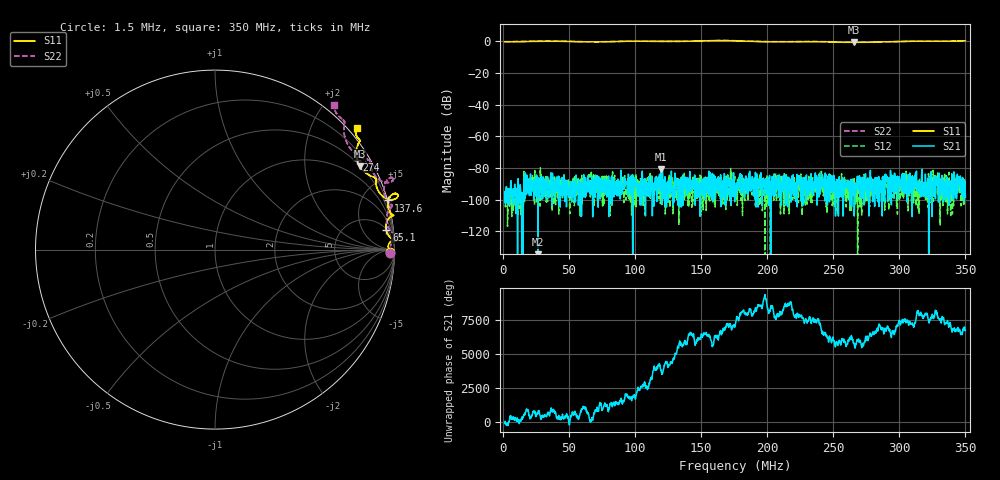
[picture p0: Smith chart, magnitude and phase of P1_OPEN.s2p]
# Hz S RI R 50
! RAW DATA - UNCALIBRATED
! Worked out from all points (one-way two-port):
!   1601 points, 1.5 MHz to 350 MHz, reference 50 ohm
!   highest |S21| = -80.57 dB at 119.8 MHz (marker M1); lowest = -186.5 dB at 26.77 MHz (marker M2)
!   lowest |S11| = -0.6 dB at 265.9 MHz (marker M3), VSWR 27.75, Z = 26.5 + j183 ohm
!   |S11| at or under -10 dB: nowhere
!   |S22| runs from -0.5 to 0.6 dB; largest |S21 - S12| = 0.00013
!   S11 on the Smith chart (normalised r, x): 1.5 MHz: 61, -39; 65.1 MHz: 6, +16; 137.6 MHz: -0.10, +7.20; 274 MHz: 0.42, +3.40; 350 MHz: -0.17, +2.68
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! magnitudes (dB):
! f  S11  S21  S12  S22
! 1.5 MHz  -0.2  -95.4  -101.4  -0.2
! 8.47 MHz  -0.3  -93.2  -103.6  -0.1
! 17.84 MHz  0.0  -86.8  -87.4  0.0
! 26.77 MHz  0.0  -186.5  -89.7  0.3
! 39.62 MHz  0.1  -94.8  -87.6  0.3
! 59.66 MHz  -0.3  -110.4  -89.8  -0.2
! 65.1 MHz  -0.3  -87.7  -89.8  -0.3
! 74.25 MHz  -0.3  -86.4  -92.6  -0.2
! 98.86 MHz  0.1  -92.1  -84.6  0.1
! 117.8 MHz  0.0  -85.9  -97.2  0.0
! 119.8 MHz  0.0  -80.6  -90.9  0.0
! 137.6 MHz  0.0  -89.6  -99.9  0.0
! 160.5 MHz  0.5  -89.5  -90.5  0.6
! 175.8 MHz  0.4  -91.3  -91.6  0.5
! 202.1 MHz  -0.3  -91.6  -92.6  -0.2
! 233.9 MHz  -0.2  -87.6  -101.9  -0.1
! 265.9 MHz  -0.6  -110.4  -85.8  -0.5
! 274 MHz  -0.6  -88.7  -92.8  -0.5
! 292.1 MHz  -0.2  -97.3  -106.7  -0.2
! 307.1 MHz  0.1  -87.0  -83.6  0.1
! 334.3 MHz  0.1  -94.1  -84.0  0.1
! 350 MHz  0.4  -98.6  -93.0  0.4
